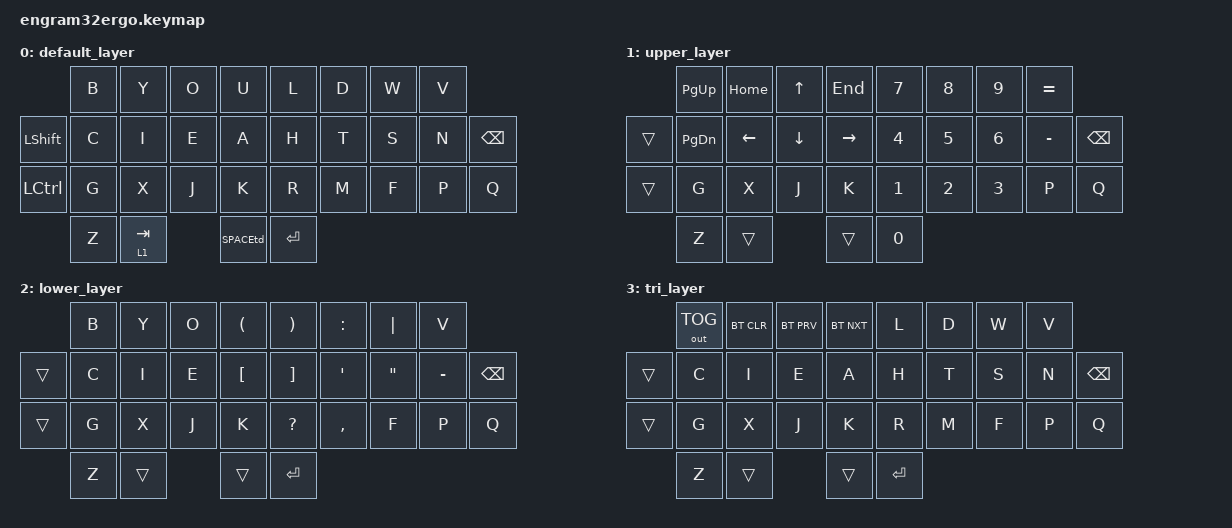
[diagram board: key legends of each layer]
#include <behaviors.dtsi>
#include <dt-bindings/zmk/keys.h>
#include <dt-bindings/zmk/bt.h>
#include <dt-bindings/zmk/outputs.h>
#include <dt-bindings/zmk/behaviors.h>

/ {
	conditional_layers {
        compatible = "zmk,conditional-layers";
        tri_layer {
            if-layers = <1 2>;
            then-layer = <3>;
	};
    };
	behaviors {
        SPACEtd: tap_dance_layer_tap {
            compatible = "zmk,behavior-tap-dance";
            #binding-cells = <0>;
            tapping-term-ms = <100>;
        };
    };
    	behaviors {
        mt: mod_tap {
            compatible = "zmk,behavior-hold-tap";
            #binding-cells = <2>;
            flavor = "hold-preferred";
            tapping-term-ms = <100>;
            bindings = <&kp>, <&kp>;
        };
    };
    	behaviors {
        lt: layer_tap {
            compatible = "zmk,behavior-hold-tap";
            #binding-cells = <2>;
            flavor = "tap-preferred";
            tapping-term-ms = <200>;
            bindings = <&mo>, <&kp>;
            display-name = "Layer-Tap";
        };
    };
    
    keymap {
        compatible = "zmk,keymap";

        default_layer {bindings = <
	  &kp B   &kp Y   &kp O   &kp U		&kp L &kp D &kp W &kp V 
&kp LSHFT &kp C   &kp I   &kp E   &kp A 	&kp H &kp T &kp S &kp N &kp BACKSPACE 
&kp LCTRL &kp G   &kp X   &kp J   &kp K 	&kp R &kp M &kp F &kp P &kp Q 
			&kp Z &lt 1 TAB      &SPACEtd &kp ENTER>;
	};
	upper_layer {bindings = <
	 &kp PG_UP &kp HOME &kp UP   &kp END	&kp N7 &kp N8 &kp N9 &kp EQUAL 
&trans &kp PG_DN &kp LEFT &kp DOWN &kp RIGHT    &kp N4 &kp N5 &kp N6 &kp MINUS &kp BACKSPACE 
&trans   &kp G   &kp X    &kp J   &kp K		&kp N1 &kp N2 &kp N3 &kp P &kp Q 
			&kp Z &trans         &trans &kp N0>;
	};
	lower_layer {bindings = <
	  &kp B   &kp Y   &kp O   &kp LPAR	&kp RPAR &kp COLON &kp PIPE &kp V 
&trans    &kp C   &kp I   &kp E   &kp LBKT 	&kp RBKT &kp APOS &kp DQT &kp MINUS &kp BACKSPACE 
&trans    &kp G   &kp X   &kp J   &kp K 	&kp QMARK &kp COMMA &kp F &kp P &kp Q 
			&kp Z &trans         &trans &kp ENTER>;
	};
	tri_layer {bindings = <
       &out OUT_TOG &bt BT_CLR &bt BT_PRV &bt BT_NXT	&kp L &kp D &kp W &kp V 
&trans &kp C   &kp I   &kp E   &kp A 		&kp H &kp T &kp S &kp N &kp BACKSPACE 
&trans &kp G   &kp X   &kp J   &kp K 		&kp R &kp M &kp F &kp P &kp Q 
			&kp Z &trans	     &trans &kp ENTER>;
        };
    };
};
